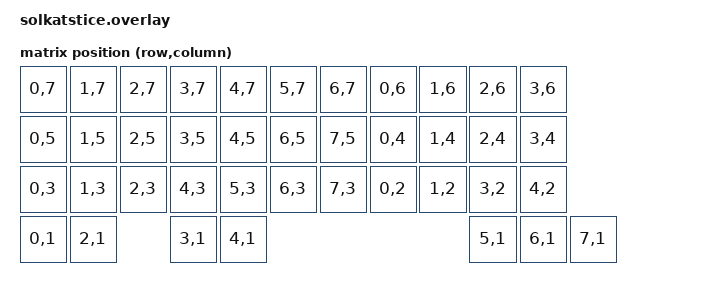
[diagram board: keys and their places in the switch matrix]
#include <dt-bindings/zmk/bt.h>
#include <input/processors.dtsi>
#include <dt-bindings/zmk/input_transform.h>
#include <zephyr/dt-bindings/input/input-event-codes.h>
#include "solkatstice_pinctrl.dtsi"
#include "solkatstice.dtsi"
#include <dt-bindings/zmk/matrix_transform.h>
#include <behaviors/rgbled_widget.dtsi>

/ {
    chosen {
        zephyr,display = &oled;
    };

    default_transform: keymap_transform_0 {
      compatible = "zmk,matrix-transform";
      columns = <7>;
      rows = <7>;

      map = <
        RC(0,7)   RC(1,7)   RC(2,7)   RC(3,7)   RC(4,7)   RC(5,7)   RC(6,7)   RC(0,6)   RC(1,6)   RC(2,6)   RC(3,6)
        RC(0,5)   RC(1,5)   RC(2,5)   RC(3,5)   RC(4,5)   RC(6,5)   RC(7,5)   RC(0,4)   RC(1,4)   RC(2,4)   RC(3,4)
        RC(0,3)   RC(1,3)   RC(2,3)   RC(4,3)   RC(5,3)   RC(6,3)   RC(7,3)   RC(0,2)   RC(1,2)   RC(3,2)   RC(4,2)   
        RC(0,1)   RC(2,1)             RC(3,1)   RC(4,1)                                           RC(5,1)   RC(6,1)   RC(7,1) 
        >;
    };
    
    default_transform1: keymap_transform_1 {
      compatible = "zmk,matrix-transform";
      columns = <7>;
      rows = <0>;

      map = <
        RC(0,1)   RC(0,1)   RC(0,2)   RC(0,3)   RC(0,4)   RC(0,5)   RC(0,6)   RC(0,7)
        >;
    };
    
    aliases {
        led-red = &led0;
        led-green = &led1;
        led-blue = &led2;
    };

    leds {
        compatible = "gpio-leds";
        status = "okay";
        led0: led_0 {
            gpios = <&gpio0 26 GPIO_ACTIVE_LOW>;  // red LED, connected to P0.26
        };
        led1: led_1 {
            gpios = <&gpio0 30 GPIO_ACTIVE_LOW>;  // green LED, connected to P0.30
        };
        led2: led_2 {
            gpios = <&gpio0 6 GPIO_ACTIVE_LOW>;  // blue LED, connected to P0.06
        };
    };

    anin0: analog_input_0 {
        compatible = "zmk,analog-input";
        sampling-hz = <100>;
        y-ch {
            io-channels = <&adc 1>;
            mv-mid = <1300>;
            mv-min-max = <1600>;
            mv-deadzone = <88>;
            scale-multiplier = <1>;
            scale-divisor = <500>;
            #invert;
            evt-type = <INPUT_EV_REL>;
            input-code = <INPUT_REL_Y>;
        };
        x-ch {
            io-channels = <&adc 0>;
            mv-mid = <1300>;
            mv-min-max = <1600>;
            mv-deadzone = <88>;
            scale-multiplier = <1>;
            scale-divisor = <500>;
            #invert;
            evt-type = <INPUT_EV_REL>;
            input-code = <INPUT_REL_X>;
        };
    };
    
    analog_input_listener {
        status = "okay";
        compatible = "zmk,input-listener";
        device = <&anin0>;
        input-processors = <&zip_xy_to_scroll_mapper>;
    };

    trackball_listener {
        status = "okay";
        compatible = "zmk,input-listener";
        device = <&trackball>;
        input-processors = <&zip_temp_layer 5 1000>;
        scroll {
            layers = <2>;
            input-processors = <&zip_xy_transform (INPUT_TRANSFORM_Y_INVERT)>, <&zip_xy_scaler 1 16>, <&zip_xy_to_scroll_mapper>;
        };
    };
}; 
